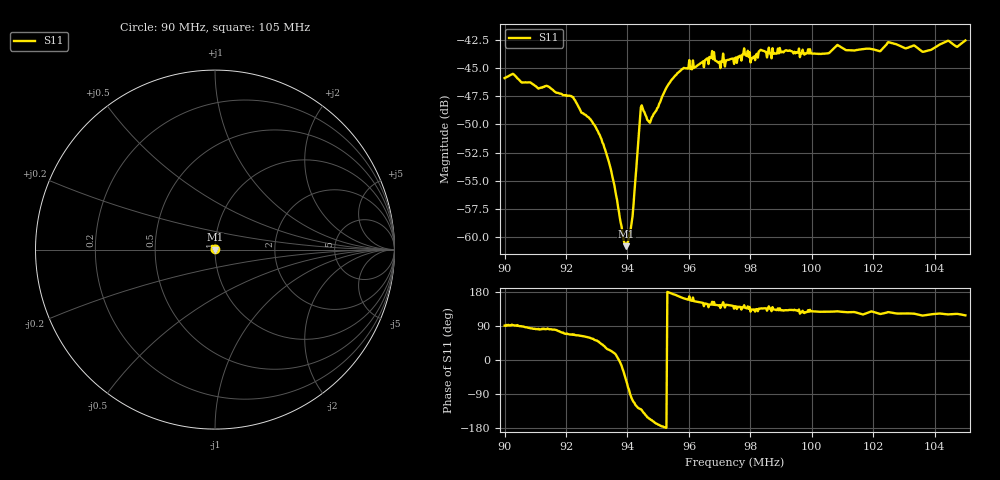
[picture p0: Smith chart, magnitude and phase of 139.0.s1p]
# HZ S RI R 50
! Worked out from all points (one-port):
!   505 points, 90 MHz to 105 MHz, reference 50 ohm
!   lowest |S11| = -60.8 dB at 93.96 MHz (marker M1), VSWR 1.00, Z = 50.1 - j0.0739 ohm
!   |S11| at or under -10 dB: start of sweep to end of sweep
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9e7  -5.65e-05 0.00508
9.026786e7  -0.000173 0.00531
9.187501e7  0.00131 0.0041
9.223215e7  0.00168 0.00383
9.309525e7  0.00199 0.00203
9.345239e7  0.00183 0.000832
9.375001e7  0.00121 -9.27e-05
9.389882e7  0.000735 -0.000582
9.395835e7  0.000529 -0.000739
9.413692e7  -0.000227 -0.00113
9.440478e7  -0.00207 -0.00255
9.44643e7  -0.00257 -0.00286
9.476192e7  -0.00306 -0.00124
9.562502e7  -0.00526 0.000975
9.675597e7  -0.00601 0.00298
9.696431e7  -0.00482 0.00349
9.750002e7  -0.00491 0.00386
9.80655e7  -0.00425 0.00457
9.836312e7  -0.00489 0.00469
9.937503e7  -0.00445 0.00495
1.004762e8  -0.00395 0.00522
1.008631e8  -0.00438 0.00559
1.0125e8  -0.00399 0.00546
1.022024e8  -0.00352 0.0057
1.025298e8  -0.00429 0.00594
1.03125e8  -0.00376 0.00583
1.036608e8  -0.00311 0.00591
1.05e8  -0.00349 0.00661
